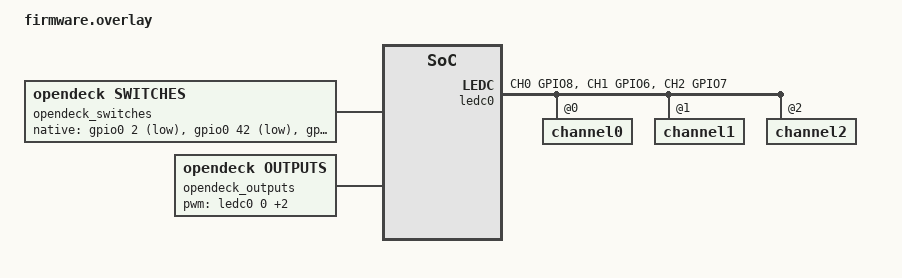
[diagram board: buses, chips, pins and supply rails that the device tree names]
#include <zephyr/dt-bindings/pwm/pwm.h>
#include <zephyr/dt-bindings/pinctrl/esp32s3-pinctrl.h>

/ {
    opendeck_metadata: opendeck-metadata {
        compatible = "opendeck,metadata";
        zephyr-board = "esp32s3_devkitc/esp32s3/procpu";
        board-name = "LILYGO T-ETH Elite";
    };

    opendeck_transports: opendeck-transports {
        compatible = "opendeck,transports";
        network;
        usb;
    };

    opendeck_tests: opendeck-tests {
        compatible = "opendeck,tests";
        host;
    };

    opendeck_bulk_build: opendeck-bulk-build {
        compatible = "opendeck,bulk-build";
        app;
        host-test;
        lint;
    };

    opendeck_switches: opendeck-switches {
        compatible = "opendeck,switches";
        mode = "native";
        native-gpios =
            <&gpio0 2 (GPIO_PULL_UP | GPIO_ACTIVE_LOW)>,
            <&gpio0 42 (GPIO_PULL_UP | GPIO_ACTIVE_LOW)>,
            <&gpio0 39 (GPIO_PULL_UP | GPIO_ACTIVE_LOW)>,
            <&gpio0 40 (GPIO_PULL_UP | GPIO_ACTIVE_LOW)>,
            <&gpio0 41 (GPIO_PULL_UP | GPIO_ACTIVE_LOW)>;
    };

    opendeck_outputs: opendeck-outputs {
        compatible = "opendeck,outputs";
        mode = "pwm";
        pwms =
            <&ledc0 0 PWM_MSEC(1) PWM_POLARITY_NORMAL>,
            <&ledc0 1 PWM_MSEC(1) PWM_POLARITY_NORMAL>,
            <&ledc0 2 PWM_MSEC(1) PWM_POLARITY_NORMAL>;
    };

    opendeck_i2c: opendeck-i2c {
        compatible = "opendeck,i2c";
        bus = <&opendeck_i2c_bus>;
    };
};

&pinctrl {
    opendeck_ledc0_default: opendeck_ledc0_default {
        group1 {
            pinmux = <LEDC_CH0_GPIO8>,
                     <LEDC_CH1_GPIO6>,
                     <LEDC_CH2_GPIO7>;
            output-enable;
        };
    };
};

&ledc0 {
    pinctrl-0 = <&opendeck_ledc0_default>;
    pinctrl-names = "default";
    status = "okay";
    #address-cells = <1>;
    #size-cells = <0>;

    channel0@0 {
        reg = <0>;
        timer = <0>;
    };

    channel1@1 {
        reg = <1>;
        timer = <0>;
    };

    channel2@2 {
        reg = <2>;
        timer = <0>;
    };
};
